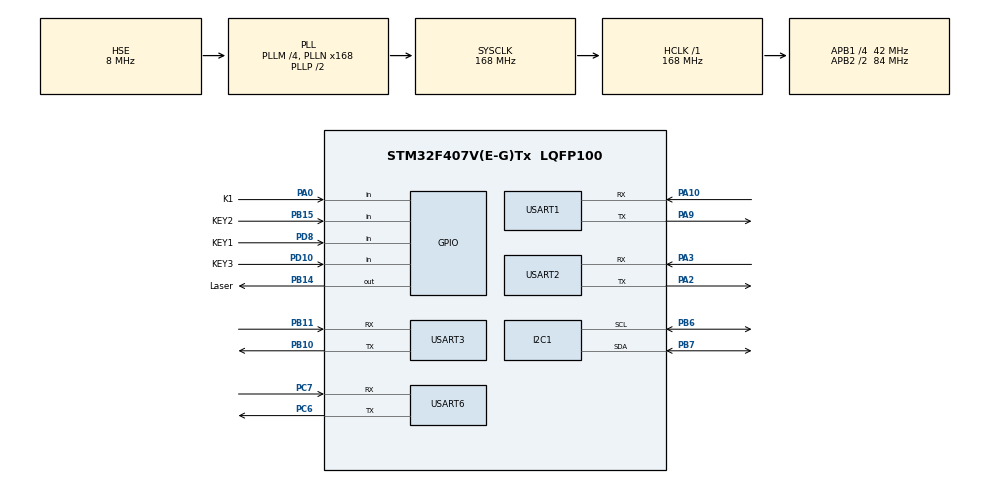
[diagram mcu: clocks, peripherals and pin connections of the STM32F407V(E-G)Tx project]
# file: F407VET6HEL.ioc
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Mcu.Family=STM32F4
Mcu.Name=STM32F407V(E-G)Tx
Mcu.Package=LQFP100
NVIC.PriorityGroup=NVIC_PRIORITYGROUP_2
NVIC.TIM2_IRQn=true\:2\:2\:true\:false\:true\:true\:true\:true
NVIC.USART1_IRQn=true\:1\:2\:true\:false\:true\:true\:true\:true
NVIC.USART2_IRQn=true\:0\:0\:true\:false\:true\:true\:true\:true
NVIC.USART3_IRQn=true\:1\:1\:true\:false\:true\:true\:true\:true
NVIC.USART6_IRQn=true\:1\:2\:true\:false\:true\:true\:true\:true
PA0-WKUP.GPIO_Label=K1
PA0-WKUP.GPIO_PuPd=GPIO_PULLUP
PA0-WKUP.Signal=GPIO_Input
PA10.Mode=Asynchronous
PA10.Signal=USART1_RX
PA13.Mode=Serial_Wire
PA13.Signal=SYS_JTMS-SWDIO
PA14.Mode=Serial_Wire
PA14.Signal=SYS_JTCK-SWCLK
PA2.Mode=Asynchronous
PA2.Signal=USART2_TX
PA3.Mode=Asynchronous
PA3.Signal=USART2_RX
PA9.Mode=Asynchronous
PA9.Signal=USART1_TX
PB10.Mode=Asynchronous
PB10.Signal=USART3_TX
PB11.Mode=Asynchronous
PB11.Signal=USART3_RX
PB14.GPIO_Label=Laser
PB14.Signal=GPIO_Output
PB15.GPIO_Label=KEY2
PB15.GPIO_PuPd=GPIO_PULLUP
PB15.Signal=GPIO_Input
PB6.Mode=I2C
PB6.Signal=I2C1_SCL
PB7.Mode=I2C
PB7.Signal=I2C1_SDA
PC6.Mode=Asynchronous
PC6.Signal=USART6_TX
PC7.Mode=Asynchronous
PC7.Signal=USART6_RX
PD10.GPIO_Label=KEY3
PD10.GPIO_PuPd=GPIO_PULLUP
PD10.Signal=GPIO_Input
PD8.GPIO_Label=KEY1
PD8.GPIO_PuPd=GPIO_PULLUP
PD8.Signal=GPIO_Input
PH0-OSC_IN.Mode=HSE-External-Oscillator
PH0-OSC_IN.Signal=RCC_OSC_IN
PH1-OSC_OUT.Mode=HSE-External-Oscillator
PH1-OSC_OUT.Signal=RCC_OSC_OUT
ProjectManager.HeapSize=0x200
ProjectManager.StackSize=0x400
ProjectManager.TargetToolchain=MDK-ARM V5.32
RCC.48MHZClocksFreq_Value=84000000
RCC.AHBFreq_Value=168000000
RCC.APB1CLKDivider=RCC_HCLK_DIV4
RCC.APB1Freq_Value=42000000
RCC.APB1TimFreq_Value=84000000
RCC.APB2CLKDivider=RCC_HCLK_DIV2
RCC.APB2Freq_Value=84000000
RCC.APB2TimFreq_Value=168000000
RCC.CortexFreq_Value=168000000
RCC.HCLKFreq_Value=168000000
RCC.HSE_VALUE=8000000
RCC.HSI_VALUE=16000000
RCC.LSE_VALUE=32768
RCC.PLLM=4
RCC.PLLN=168
RCC.PLLSourceVirtual=RCC_PLLSOURCE_HSE
RCC.SYSCLKFreq_VALUE=168000000
RCC.SYSCLKSource=RCC_SYSCLKSOURCE_PLLCLK
RCC.VCOOutputFreq_Value=336000000
TIM2.AutoReloadPreload=TIM_AUTORELOAD_PRELOAD_ENABLE
TIM2.Period=999
TIM2.Prescaler=83
USART1.VirtualMode=VM_ASYNC
USART2.VirtualMode=VM_ASYNC
USART3.VirtualMode=VM_ASYNC
USART6.VirtualMode=VM_ASYNC
VP_TIM2_VS_ClockSourceINT.Mode=Internal
board=custom

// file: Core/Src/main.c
/* USER CODE BEGIN Header */
/**
 ******************************************************************************
 * @file           : main.c
 * @brief          : Main program body
 ******************************************************************************
 * @attention
 *
 * Copyright (c) 2026 STMicroelectronics.
 * All rights reserved.
 *
 * This software is licensed under terms that can be found in the LICENSE file
 * in the root directory of this software component.
 * If no LICENSE file comes with this software, it is provided AS-IS.
 *
 ******************************************************************************
 */
/* USER CODE END Header */
#include "main.h"

/* USER CODE BEGIN Includes */
#include "MyI2C.h"
#include "jy901.h"
#include "stm32F4xx_hal.h"
#include "sys.h"
#include <stdbool.h>
/* USER CODE END Includes */

I2C_HandleTypeDef hi2c1;

TIM_HandleTypeDef htim2;

UART_HandleTypeDef huart1;
UART_HandleTypeDef huart2;
UART_HandleTypeDef huart3;
UART_HandleTypeDef huart6;

/* USER CODE BEGIN PV */
JY901_Driver *jy901;
bool Stop_flag = 0;
bool Power_on_flag = 0; // 第二题的全局变量，用于控制系统是否上电，只有当它为1时才会处理串口数据
int8_t Questionx = 0;
float ROLL, YAW, PITCH;
uint8_t SCAN = 0;
volatile uint8_t keyValue = 0;
/* USER CODE END PV */

void SystemClock_Config(void);
static void MX_GPIO_Init(void);
static void MX_USART1_UART_Init(void);
static void MX_USART2_UART_Init(void);
static void MX_TIM2_Init(void);
static void MX_USART3_UART_Init(void);
static void MX_I2C1_Init(void);
static void MX_USART6_UART_Init(void);

int main(void)
{

  /* MCU Configuration--------------------------------------------------------*/

  /* Reset of all peripherals, Initializes the Flash interface and the Systick. */
  HAL_Init();

  /* USER CODE BEGIN Init */
    SCB->VTOR = FLASH_BASE | NVIC_VECTTAB_OFFSET;
    __enable_irq();

  /* USER CODE END Init */

  /* Configure the system clock */
  SystemClock_Config();

  /* Initialize all configured peripherals */
  MX_GPIO_Init();
  MX_USART1_UART_Init();
  MX_USART2_UART_Init();
  MX_TIM2_Init();
  MX_USART3_UART_Init();
  MX_I2C1_Init();
  MX_USART6_UART_Init();
  /* USER CODE BEGIN 2 */
    HAL_Delay(500);
    PID_Init();
    OLED_Init();
    // jy901 = JY901_Create(0x50, GPIOB, GPIO_PIN_8, GPIOB, GPIO_PIN_9);
    // jy901->fun->Init(jy901);
    Serial_SendPacket(0xA5, 0x5A, (uint8_t *)&RESET_KEY, 1);
    OLED_ShowString(0, 0, "Hello!", OLED_8X16);
    OLED_Update();
    HAL_TIM_Base_Start_IT(&htim2);
    __HAL_UART_ENABLE_IT(&huart1, UART_IT_RXNE);
    __HAL_UART_ENABLE_IT(&huart2, UART_IT_RXNE);
    __HAL_UART_ENABLE_IT(&huart3, UART_IT_RXNE);
    __HAL_UART_ENABLE_IT(&huart6, UART_IT_RXNE);
    HAL_Delay(500);
    OLED_Clear();
    OLED_Update();
    HAL_GPIO_WritePin(GPIOB, GPIO_PIN_14, GPIO_PIN_SET);

    // 初始化上电时，强制让舵机回到默认的物理中心位置（400）
    WritePosEx(1, 300, 90, 0);
    // ==============================================================================
  /* USER CODE END 2 */

  /* Infinite loop */
    while (1)
    {

    /* USER CODE BEGIN 3 */
        // 空指针保护，防止驱动创建失败死机
        //  if(jy901 == NULL)
        //   {
        //       OLED_ShowString(0,0,"JY901 ERR",OLED_8X16);
        //       OLED_Update();
        //       HAL_Delay(100);
        //       continue;
        //   }
        //   // 1. 读取JY901姿态数据
        //   jy901->fun->ROLL_GET(jy901);  // 读取横滚角
        //   jy901->fun->PITCH_GET(jy901); // 可选：读取俯仰角
        //   jy901->fun->YAW_GET(jy901);   // 可选：读取偏航角

    keyValue = Key_GetCode();

    if (keyValue == 1)
    {
      Questionx++;
      if (Questionx > 4)
      {
        Questionx = 1;
      }
    }
    else if (keyValue == 2)
    {
      Stop_flag = !Stop_flag;
    }
    else if (keyValue == 3)
    {
      SCAN++;
      if (SCAN > 2)
      {
        SCAN = 0;
      }
    }

    OLED_ShowString(0, 0, "Stop:", OLED_8X16);
    OLED_ShowNum(48, 0, Stop_flag, 1, OLED_8X16);
    OLED_ShowString(0, 16, "Question:", OLED_8X16);
    OLED_ShowNum(72, 16, Questionx, 1, OLED_8X16);
    OLED_ShowString(0, 32, "SCAN:", OLED_8X16);
    OLED_ShowNum(48, 32, SCAN, 1, OLED_8X16);

    OLED_ShowString(0, 48, "x:", OLED_8X16);
    OLED_ShowFloatNum(16, 48, err_y, 4, 2, OLED_8X16);
    // OLED_ShowString(0, 0, "ROLL:", OLED_8X16);
    // OLED_ShowFloatNum(48, 0, jy901->var.roll, 1, 3, OLED_8X16);
    // OLED_ShowString(0, 16, "PITCH:", OLED_8X16);
    // OLED_ShowFloatNum(48, 16, jy901->var.pitch, 1, 3, OLED_8X16);
    // OLED_ShowString(0, 32, "YAW:", OLED_8X16);
    // OLED_ShowFloatNum(48, 32, jy901->var.yaw, 1, 3, OLED_8X16);
    OLED_Update();
    HAL_Delay(10);
  }
  /* USER CODE END 3 */
}

void SystemClock_Config(void)
{
  RCC_OscInitTypeDef RCC_OscInitStruct = {0};
  RCC_ClkInitTypeDef RCC_ClkInitStruct = {0};

  /** Configure the main internal regulator output voltage
  */
  __HAL_RCC_PWR_CLK_ENABLE();
  __HAL_PWR_VOLTAGESCALING_CONFIG(PWR_REGULATOR_VOLTAGE_SCALE1);

  /** Initializes the RCC Oscillators according to the specified parameters
  * in the RCC_OscInitTypeDef structure.
  */
  RCC_OscInitStruct.OscillatorType = RCC_OSCILLATORTYPE_HSE;
  RCC_OscInitStruct.HSEState = RCC_HSE_ON;
  RCC_OscInitStruct.PLL.PLLState = RCC_PLL_ON;
  RCC_OscInitStruct.PLL.PLLSource = RCC_PLLSOURCE_HSE;
  RCC_OscInitStruct.PLL.PLLM = 4;
  RCC_OscInitStruct.PLL.PLLN = 168;
  RCC_OscInitStruct.PLL.PLLP = RCC_PLLP_DIV2;
  RCC_OscInitStruct.PLL.PLLQ = 4;
  if (HAL_RCC_OscConfig(&RCC_OscInitStruct) != HAL_OK)
  {
    Error_Handler();
  }

  /** Initializes the CPU, AHB and APB buses clocks
  */
  RCC_ClkInitStruct.ClockType = RCC_CLOCKTYPE_HCLK|RCC_CLOCKTYPE_SYSCLK
                              |RCC_CLOCKTYPE_PCLK1|RCC_CLOCKTYPE_PCLK2;
  RCC_ClkInitStruct.SYSCLKSource = RCC_SYSCLKSOURCE_PLLCLK;
  RCC_ClkInitStruct.AHBCLKDivider = RCC_SYSCLK_DIV1;
  RCC_ClkInitStruct.APB1CLKDivider = RCC_HCLK_DIV4;
  RCC_ClkInitStruct.APB2CLKDivider = RCC_HCLK_DIV2;

  if (HAL_RCC_ClockConfig(&RCC_ClkInitStruct, FLASH_LATENCY_5) != HAL_OK)
  {
    Error_Handler();
  }
}

static void MX_I2C1_Init(void)
{

  hi2c1.Instance = I2C1;
  hi2c1.Init.ClockSpeed = 100000;
  hi2c1.Init.DutyCycle = I2C_DUTYCYCLE_2;
  hi2c1.Init.OwnAddress1 = 0;
  hi2c1.Init.AddressingMode = I2C_ADDRESSINGMODE_7BIT;
  hi2c1.Init.DualAddressMode = I2C_DUALADDRESS_DISABLE;
  hi2c1.Init.OwnAddress2 = 0;
  hi2c1.Init.GeneralCallMode = I2C_GENERALCALL_DISABLE;
  hi2c1.Init.NoStretchMode = I2C_NOSTRETCH_DISABLE;
  if (HAL_I2C_Init(&hi2c1) != HAL_OK)
  {
    Error_Handler();
  }

}

static void MX_TIM2_Init(void)
{

  TIM_ClockConfigTypeDef sClockSourceConfig = {0};
  TIM_MasterConfigTypeDef sMasterConfig = {0};

  htim2.Instance = TIM2;
  htim2.Init.Prescaler = 83;
  htim2.Init.CounterMode = TIM_COUNTERMODE_UP;
  htim2.Init.Period = 999;
  htim2.Init.ClockDivision = TIM_CLOCKDIVISION_DIV1;
  htim2.Init.AutoReloadPreload = TIM_AUTORELOAD_PRELOAD_ENABLE;
  if (HAL_TIM_Base_Init(&htim2) != HAL_OK)
  {
    Error_Handler();
  }
  sClockSourceConfig.ClockSource = TIM_CLOCKSOURCE_INTERNAL;
  if (HAL_TIM_ConfigClockSource(&htim2, &sClockSourceConfig) != HAL_OK)
  {
    Error_Handler();
  }
  sMasterConfig.MasterOutputTrigger = TIM_TRGO_RESET;
  sMasterConfig.MasterSlaveMode = TIM_MASTERSLAVEMODE_DISABLE;
  if (HAL_TIMEx_MasterConfigSynchronization(&htim2, &sMasterConfig) != HAL_OK)
  {
    Error_Handler();
  }

}

static void MX_USART1_UART_Init(void)
{

  huart1.Instance = USART1;
  huart1.Init.BaudRate = 115200;
  huart1.Init.WordLength = UART_WORDLENGTH_8B;
  huart1.Init.StopBits = UART_STOPBITS_1;
  huart1.Init.Parity = UART_PARITY_NONE;
  huart1.Init.Mode = UART_MODE_TX_RX;
  huart1.Init.HwFlowCtl = UART_HWCONTROL_NONE;
  huart1.Init.OverSampling = UART_OVERSAMPLING_16;
  if (HAL_UART_Init(&huart1) != HAL_OK)
  {
    Error_Handler();
  }

}

static void MX_USART2_UART_Init(void)
{

  huart2.Instance = USART2;
  huart2.Init.BaudRate = 115200;
  huart2.Init.WordLength = UART_WORDLENGTH_8B;
  huart2.Init.StopBits = UART_STOPBITS_1;
  huart2.Init.Parity = UART_PARITY_NONE;
  huart2.Init.Mode = UART_MODE_TX_RX;
  huart2.Init.HwFlowCtl = UART_HWCONTROL_NONE;
  huart2.Init.OverSampling = UART_OVERSAMPLING_16;
  if (HAL_UART_Init(&huart2) != HAL_OK)
  {
    Error_Handler();
  }

}

static void MX_USART3_UART_Init(void)
{

  huart3.Instance = USART3;
  huart3.Init.BaudRate = 115200;
  huart3.Init.WordLength = UART_WORDLENGTH_8B;
  huart3.Init.StopBits = UART_STOPBITS_1;
  huart3.Init.Parity = UART_PARITY_NONE;
  huart3.Init.Mode = UART_MODE_TX_RX;
  huart3.Init.HwFlowCtl = UART_HWCONTROL_NONE;
  huart3.Init.OverSampling = UART_OVERSAMPLING_16;
  if (HAL_UART_Init(&huart3) != HAL_OK)
  {
    Error_Handler();
  }

}

static void MX_USART6_UART_Init(void)
{

  huart6.Instance = USART6;
  huart6.Init.BaudRate = 115200;
  huart6.Init.WordLength = UART_WORDLENGTH_8B;
  huart6.Init.StopBits = UART_STOPBITS_1;
  huart6.Init.Parity = UART_PARITY_NONE;
  huart6.Init.Mode = UART_MODE_TX_RX;
  huart6.Init.HwFlowCtl = UART_HWCONTROL_NONE;
  huart6.Init.OverSampling = UART_OVERSAMPLING_16;
  if (HAL_UART_Init(&huart6) != HAL_OK)
  {
    Error_Handler();
  }

}

static void MX_GPIO_Init(void)
{
  GPIO_InitTypeDef GPIO_InitStruct = {0};

  /* GPIO Ports Clock Enable */
  __HAL_RCC_GPIOH_CLK_ENABLE();
  __HAL_RCC_GPIOA_CLK_ENABLE();
  __HAL_RCC_GPIOB_CLK_ENABLE();
  __HAL_RCC_GPIOD_CLK_ENABLE();
  __HAL_RCC_GPIOC_CLK_ENABLE();

  /*Configure GPIO pin Output Level */
  HAL_GPIO_WritePin(Laser_GPIO_Port, Laser_Pin, GPIO_PIN_RESET);

  /*Configure GPIO pin : K1_Pin */
  GPIO_InitStruct.Pin = K1_Pin;
  GPIO_InitStruct.Mode = GPIO_MODE_INPUT;
  GPIO_InitStruct.Pull = GPIO_PULLUP;
  HAL_GPIO_Init(K1_GPIO_Port, &GPIO_InitStruct);

  /*Configure GPIO pin : Laser_Pin */
  GPIO_InitStruct.Pin = Laser_Pin;
  GPIO_InitStruct.Mode = GPIO_MODE_OUTPUT_PP;
  GPIO_InitStruct.Pull = GPIO_NOPULL;
  GPIO_InitStruct.Speed = GPIO_SPEED_FREQ_LOW;
  HAL_GPIO_Init(Laser_GPIO_Port, &GPIO_InitStruct);

  /*Configure GPIO pin : KEY2_Pin */
  GPIO_InitStruct.Pin = KEY2_Pin;
  GPIO_InitStruct.Mode = GPIO_MODE_INPUT;
  GPIO_InitStruct.Pull = GPIO_PULLUP;
  HAL_GPIO_Init(KEY2_GPIO_Port, &GPIO_InitStruct);

  /*Configure GPIO pins : KEY1_Pin KEY3_Pin */
  GPIO_InitStruct.Pin = KEY1_Pin|KEY3_Pin;
  GPIO_InitStruct.Mode = GPIO_MODE_INPUT;
  GPIO_InitStruct.Pull = GPIO_PULLUP;
  HAL_GPIO_Init(GPIOD, &GPIO_InitStruct);

}

/* USER CODE BEGIN 4 */

float Check_angle(uint8_t addr)
{
    float Check_pos = 0.0f, Check_Motor_Cur_Pos = 0.0f;
    Emm_V5_Read_Sys_Params(addr, S_CPOS);
    HAL_Delay(20);
    if (rxCmd[0] == addr && rxCmd[1] == 0x36 && rxCount == 8)
    {
        Check_pos = (uint32_t)(((uint32_t)rxCmd[3] << 24) |
                               ((uint32_t)rxCmd[4] << 16) |
                               ((uint32_t)rxCmd[5] << 8) |
                               ((uint32_t)rxCmd[6] << 0));

        Check_Motor_Cur_Pos = (float)Check_pos * 360.0f / 65536.0f;
        if (rxCmd[2])
        {
            Check_Motor_Cur_Pos = -Check_Motor_Cur_Pos;
        }
    }
    return Check_Motor_Cur_Pos;
}
/* USER CODE END 4 */

void Error_Handler(void)
{
    __disable_irq();
    while (1)
    {
    }
}
